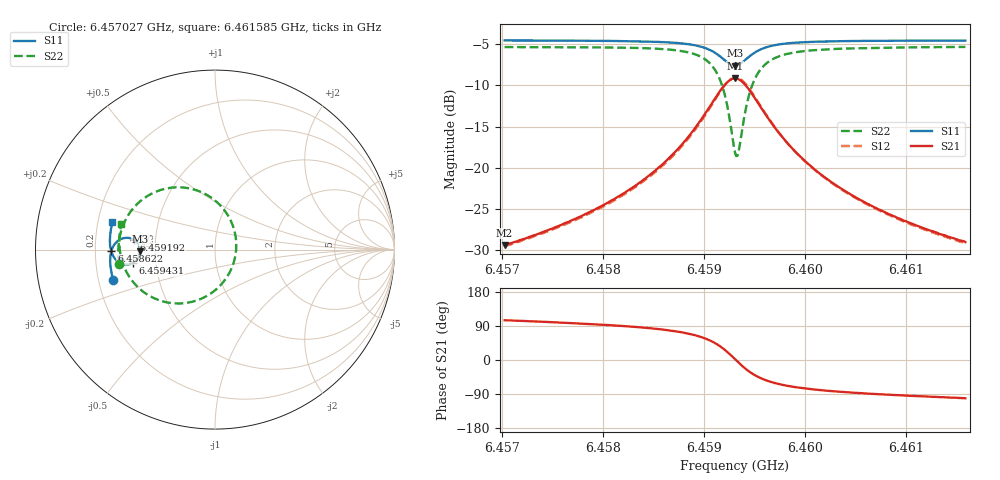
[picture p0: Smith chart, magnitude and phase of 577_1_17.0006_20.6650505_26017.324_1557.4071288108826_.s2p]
#  HZ  S  RI  R  50.00
! Rohde & Schwarz Vector Network Analyzer
! Rohde-Schwarz,ZNB20-2Port,1311601062101988,3.16
! Created: UTC 3/20/2024, 11:17:57 PM
! freq[Hz]  re:S11  im:S11  re:S21  im:S21  re:S12  im:S12  re:S22  im:S22
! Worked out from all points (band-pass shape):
!   401 points, 6.457027 GHz to 6.461585 GHz, reference 50 ohm
!   highest |S21| = -9.15 dB at 6.459306 GHz (marker M1); lowest = -29.4 dB at 6.457027 GHz (marker M2)
!   |S21| within 3 dB of the highest: 6.459078 GHz to 6.459535 GHz (456.5 kHz wide, 0.00707 % of centre)
!   lowest |S11| = -7.6 dB at 6.459306 GHz (marker M3), VSWR 2.43, Z = 20.6 - j0.424 ohm
!   |S11| at or under -10 dB: nowhere
!   |S22| runs from -18.6 to -5.3 dB; largest |S21 - S12| = 0.014
!   S11 on the Smith chart (normalised r, x): 6.457027 GHz: 0.26, -0.14; 6.458622 GHz: 0.27, -0.01; 6.459192 GHz: 0.37, +0.05; 6.459431 GHz: 0.37, -0.07; 6.461585 GHz: 0.26, +0.12
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6.4570267e9  -0.5678 -0.1683  -0.00873 0.0329  -0.00697 0.0328  -0.5339 -0.0802
6.4577903e9  -0.5812 -0.1013  -0.00539 0.0509  -0.00274 0.0502  -0.5385 0.00996
6.4582119e9  -0.5838 -0.0588  0.000807 0.0705  0.00409 0.0691  -0.5296 0.0774
6.4585538e9  -0.5797 -0.0179  0.0148 0.0996  0.0189 0.0968  -0.5034 0.1553
6.4586222e9  -0.5775 -0.00843  0.0204 0.108  0.0245 0.1049  -0.4933 0.1753
6.4588159e9  -0.5646 0.0222  0.0474 0.1391  0.0514 0.134  -0.4427 0.2446
6.4589641e9  -0.5417 0.0482  0.0932 0.1696  0.0963 0.1628  -0.3581 0.309
6.4591008e9  -0.4976 0.0656  0.1809 0.1858  0.1819 0.1784  -0.197 0.3471
6.459192e9  -0.4528 0.0551  0.2713 0.154  0.2717 0.1481  -0.0295 0.2954
6.4592604e9  -0.4236 0.0227  0.332 0.0816  0.3342 0.0762  0.0864 0.1645
6.4593059e9  -0.4167 -0.00852  0.3484 0.0132  0.3521 0.00603  0.1184 0.0361
6.4593287e9  -0.4185 -0.0245  0.3461 -0.0226  0.3503 -0.0309  0.114 -0.0314
6.4593401e9  -0.4207 -0.0323  0.3423 -0.0397  0.3465 -0.049  0.1068 -0.0642
6.4593857e9  -0.4363 -0.0586  0.3136 -0.1001  0.3157 -0.1122  0.048 -0.1783
6.4594313e9  -0.4585 -0.0751  0.2711 -0.1414  0.2703 -0.1549  -0.0381 -0.2538
6.4595225e9  -0.5023 -0.082  0.1854 -0.1726  0.1792 -0.1845  -0.2089 -0.3
6.4596706e9  -0.5464 -0.0615  0.0968 -0.1585  0.0881 -0.1648  -0.3782 -0.2497
6.4598302e9  -0.568 -0.0339  0.0514 -0.1302  0.0437 -0.133  -0.4593 -0.1766
6.4600695e9  -0.5809 0.00172  0.0221 -0.0983  0.0162 -0.0989  -0.5076 -0.0933
6.4604e9  -0.5854 0.0413  0.00637 -0.0719  0.00227 -0.0713  -0.5286 -0.0158
6.460833e9  -0.5834 0.0851  -0.00145 -0.0522  -0.00448 -0.0516  -0.533 0.0547
6.4615851e9  -0.5713 0.1518  -0.00675 -0.0349  -0.00838 -0.0339  -0.5215 0.1442
